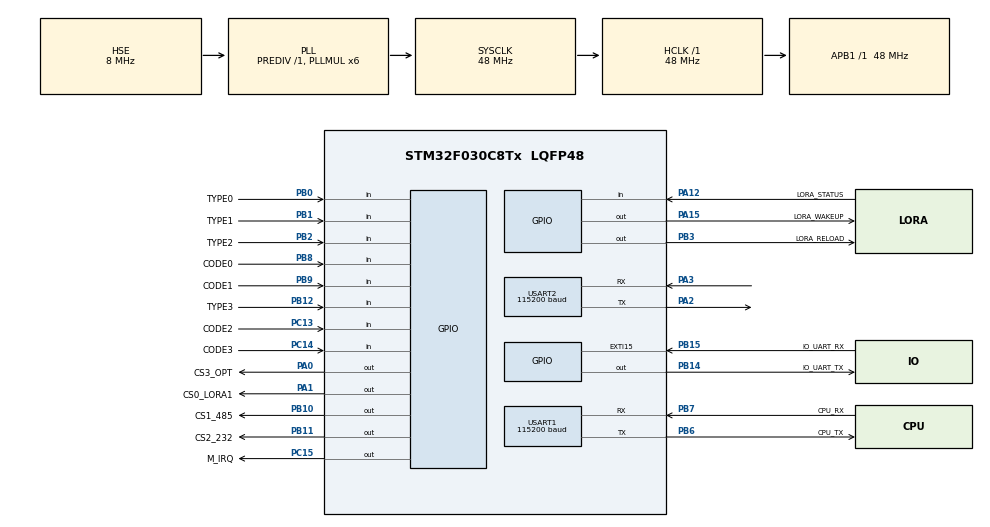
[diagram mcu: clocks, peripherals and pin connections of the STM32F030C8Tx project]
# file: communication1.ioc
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Dma.Request0=USART1_RX
Dma.Request1=USART1_TX
Dma.Request2=USART2_RX
Dma.Request3=USART2_TX
Dma.USART1_RX.0.Direction=DMA_PERIPH_TO_MEMORY
Dma.USART1_RX.0.Instance=DMA1_Channel3
Dma.USART1_RX.0.MemDataAlignment=DMA_MDATAALIGN_BYTE
Dma.USART1_RX.0.MemInc=DMA_MINC_ENABLE
Dma.USART1_RX.0.Mode=DMA_NORMAL
Dma.USART1_RX.0.PeriphDataAlignment=DMA_PDATAALIGN_BYTE
Dma.USART1_RX.0.PeriphInc=DMA_PINC_DISABLE
Dma.USART1_RX.0.Priority=DMA_PRIORITY_LOW
Dma.USART1_TX.1.Direction=DMA_MEMORY_TO_PERIPH
Dma.USART1_TX.1.Instance=DMA1_Channel2
Dma.USART1_TX.1.MemDataAlignment=DMA_MDATAALIGN_BYTE
Dma.USART1_TX.1.MemInc=DMA_MINC_ENABLE
Dma.USART1_TX.1.Mode=DMA_NORMAL
Dma.USART1_TX.1.PeriphDataAlignment=DMA_PDATAALIGN_BYTE
Dma.USART1_TX.1.PeriphInc=DMA_PINC_DISABLE
Dma.USART1_TX.1.Priority=DMA_PRIORITY_LOW
Dma.USART2_RX.2.Direction=DMA_PERIPH_TO_MEMORY
Dma.USART2_RX.2.Instance=DMA1_Channel5
Dma.USART2_RX.2.MemDataAlignment=DMA_MDATAALIGN_BYTE
Dma.USART2_RX.2.MemInc=DMA_MINC_ENABLE
Dma.USART2_RX.2.Mode=DMA_NORMAL
Dma.USART2_RX.2.PeriphDataAlignment=DMA_PDATAALIGN_BYTE
Dma.USART2_RX.2.PeriphInc=DMA_PINC_DISABLE
Dma.USART2_RX.2.Priority=DMA_PRIORITY_LOW
Dma.USART2_TX.3.Direction=DMA_MEMORY_TO_PERIPH
Dma.USART2_TX.3.Instance=DMA1_Channel4
Dma.USART2_TX.3.MemDataAlignment=DMA_MDATAALIGN_BYTE
Dma.USART2_TX.3.MemInc=DMA_MINC_ENABLE
Dma.USART2_TX.3.Mode=DMA_NORMAL
Dma.USART2_TX.3.PeriphDataAlignment=DMA_PDATAALIGN_BYTE
Dma.USART2_TX.3.PeriphInc=DMA_PINC_DISABLE
Dma.USART2_TX.3.Priority=DMA_PRIORITY_LOW
FREERTOS.BinarySemaphores01=Cpu_Recive,Dynamic,NULL;Lora_Recive,Dynamic,NULL
FREERTOS.Mutexes01=shellMutex,Dynamic,NULL
FREERTOS.Tasks01=shell,-2,192,Shell_Task,Default,Shell_Object,Dynamic,NULL,NULL;Cpu,0,256,Cpu_Task,Default,Modbus_Object,Dynamic,NULL,NULL;Lora,0,256,Lora_Task,Default,Lora_Object,Dynamic,NULL,NULL;IWDG,3,64,IWDG_Task,Default,Shell_Object,Dynamic,NULL,NULL
FREERTOS.configCHECK_FOR_STACK_OVERFLOW=2
FREERTOS.configMINIMAL_STACK_SIZE=64
FREERTOS.configTIMER_QUEUE_LENGTH=2
FREERTOS.configTIMER_TASK_STACK_DEPTH=128
FREERTOS.configTOTAL_HEAP_SIZE=5276
FREERTOS.configUSE_CO_ROUTINES=0
FREERTOS.configUSE_MALLOC_FAILED_HOOK=1
FREERTOS.configUSE_TASK_NOTIFICATIONS=0
FREERTOS.configUSE_TIMERS=0
IWDG.Prescaler=IWDG_PRESCALER_64
IWDG.Reload=1250
Mcu.Family=STM32F0
Mcu.Name=STM32F030C8Tx
Mcu.Package=LQFP48
NVIC.DMA1_Channel2_3_IRQn=true\:3\:0\:false\:false\:true\:true\:false\:true\:true
NVIC.DMA1_Channel4_5_IRQn=true\:3\:0\:false\:false\:true\:true\:false\:true\:true
NVIC.EXTI4_15_IRQn=true\:3\:0\:false\:false\:true\:true\:true\:true\:true
NVIC.TIM14_IRQn=true\:3\:0\:false\:false\:true\:true\:true\:true\:true
NVIC.TIM1_BRK_UP_TRG_COM_IRQn=true\:3\:0\:false\:false\:true\:false\:false\:true\:true
NVIC.TIM6_IRQn=true\:3\:0\:false\:false\:true\:true\:true\:true\:true
NVIC.TimeBase=TIM1_BRK_UP_TRG_COM_IRQn
NVIC.TimeBaseIP=TIM1
NVIC.USART1_IRQn=true\:3\:0\:false\:false\:true\:true\:true\:true\:true
NVIC.USART2_IRQn=true\:3\:0\:true\:false\:true\:true\:true\:true\:true
PA0.GPIO_Label=CS3_OPT
PA0.GPIO_PuPd=GPIO_PULLUP
PA0.PinState=GPIO_PIN_SET
PA0.Signal=GPIO_Output
PA1.GPIO_Label=CS0_LORA1
PA1.GPIO_ModeDefaultOutputPP=GPIO_MODE_OUTPUT_PP
PA1.GPIO_PuPd=GPIO_PULLUP
PA1.PinState=GPIO_PIN_SET
PA1.Signal=GPIO_Output
PA12.GPIO_Label=LORA_STATUS
PA12.GPIO_PuPd=GPIO_PULLUP
PA12.Signal=GPIO_Input
PA13.Mode=Serial_Wire
PA13.Signal=SYS_SWDIO
PA14.Mode=Serial_Wire
PA14.Signal=SYS_SWCLK
PA15.GPIO_Label=LORA_WAKEUP
PA15.PinState=GPIO_PIN_SET
PA15.Signal=GPIO_Output
PA2.Mode=Asynchronous
PA2.Signal=USART2_TX
PA3.Mode=Asynchronous
PA3.Signal=USART2_RX
PB0.GPIO_Label=TYPE0
PB0.GPIO_PuPd=GPIO_PULLUP
PB0.Signal=GPIO_Input
PB1.GPIO_Label=TYPE1
PB1.GPIO_PuPd=GPIO_PULLUP
PB1.Signal=GPIO_Input
PB10.GPIO_Label=CS1_485
PB10.GPIO_PuPd=GPIO_PULLUP
PB10.PinState=GPIO_PIN_SET
PB10.Signal=GPIO_Output
PB11.GPIO_Label=CS2_232
PB11.GPIO_PuPd=GPIO_PULLUP
PB11.PinState=GPIO_PIN_SET
PB11.Signal=GPIO_Output
PB12.GPIO_Label=TYPE3
PB12.GPIO_PuPd=GPIO_PULLUP
PB12.Signal=GPIO_Input
PB14.GPIO_Label=IO_UART_TX
PB14.GPIO_PuPd=GPIO_PULLUP
PB14.GPIO_Speed=GPIO_SPEED_FREQ_HIGH
PB14.PinState=GPIO_PIN_SET
PB14.Signal=GPIO_Output
PB15.GPIO_Label=IO_UART_RX
PB15.GPIO_ModeDefaultEXTI=GPIO_MODE_IT_FALLING
PB15.GPIO_PuPd=GPIO_PULLUP
PB15.Signal=GPXTI15
PB2.GPIO_Label=TYPE2
PB2.GPIO_PuPd=GPIO_PULLUP
PB2.Signal=GPIO_Input
PB3.GPIO_Label=LORA_RELOAD
PB3.GPIO_ModeDefaultOutputPP=GPIO_MODE_OUTPUT_PP
PB3.GPIO_PuPd=GPIO_PULLUP
PB3.PinState=GPIO_PIN_SET
PB3.Signal=GPIO_Output
PB6.GPIO_Label=CPU_TX
PB6.Mode=Asynchronous
PB6.Signal=USART1_TX
PB7.GPIO_Label=CPU_RX
PB7.Mode=Asynchronous
PB7.Signal=USART1_RX
PB8.GPIO_Label=CODE0
PB8.GPIO_PuPd=GPIO_PULLUP
PB8.Signal=GPIO_Input
PB9.GPIO_Label=CODE1
PB9.GPIO_PuPd=GPIO_PULLUP
PB9.Signal=GPIO_Input
PC13.GPIO_Label=CODE2
PC13.GPIO_PuPd=GPIO_PULLUP
PC13.Signal=GPIO_Input
PC14-OSC32_IN.GPIO_Label=CODE3
PC14-OSC32_IN.GPIO_PuPd=GPIO_PULLUP
PC14-OSC32_IN.Signal=GPIO_Input
PC15-OSC32_OUT.GPIO_Label=M_IRQ
PC15-OSC32_OUT.GPIO_PuPd=GPIO_PULLUP
PC15-OSC32_OUT.PinState=GPIO_PIN_SET
PC15-OSC32_OUT.Signal=GPIO_Output
PF0-OSC_IN.Mode=HSE-External-Oscillator
PF0-OSC_IN.Signal=RCC_OSC_IN
PF1-OSC_OUT.Mode=HSE-External-Oscillator
PF1-OSC_OUT.Signal=RCC_OSC_OUT
ProjectManager.HeapSize=0x00
ProjectManager.StackSize=0x200
ProjectManager.TargetToolchain=MDK-ARM V5.27
RCC.AHBFreq_Value=48000000
RCC.APB1Freq_Value=48000000
RCC.APB1TimFreq_Value=48000000
RCC.HCLKFreq_Value=48000000
RCC.PLLMUL=RCC_PLL_MUL6
RCC.PLLSourceVirtual=RCC_PLLSOURCE_HSE
RCC.SYSCLKFreq_VALUE=48000000
RCC.SYSCLKSource=RCC_SYSCLKSOURCE_PLLCLK
TIM14.Prescaler=48-1
TIM6.Prescaler=48-1
USART1.BaudRate=115200
USART1.VirtualMode-Asynchronous=VM_ASYNC
USART2.BaudRate=115200
USART2.VirtualMode-Asynchronous=VM_ASYNC
VP_FREERTOS_VS_CMSIS_V1.Mode=CMSIS_V1
VP_IWDG_VS_IWDG.Mode=IWDG_Activate
VP_SYS_VS_tim1.Mode=TIM1
VP_TIM14_VS_ClockSourceINT.Mode=Enable_Timer
VP_TIM6_VS_ClockSourceINT.Mode=Enable_Timer
board=custom

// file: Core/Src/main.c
/* USER CODE BEGIN Header */
/**
 ******************************************************************************
 * @file           : main.c
 * @brief          : Main program body
 ******************************************************************************
 * @attention
 *
 * Copyright (c) 2022 STMicroelectronics.
 * All rights reserved.
 *
 * This software is licensed under terms that can be found in the LICENSE file
 * in the root directory of this software component.
 * If no LICENSE file comes with this software, it is provided AS-IS.
 *
 ******************************************************************************
 */
/* USER CODE END Header */
#include "main.h"
#include "cmsis_os.h"
#include "dma.h"
#include "iwdg.h"
#include "tim.h"
#include "usart.h"
#include "gpio.h"

/* USER CODE BEGIN Includes */
#include "io_uart.h"
/* USER CODE END Includes */

void SystemClock_Config(void);
void MX_FREERTOS_Init(void);

int main(void)
{

  /* MCU Configuration--------------------------------------------------------*/

  /* Reset of all peripherals, Initializes the Flash interface and the Systick. */
  HAL_Init();

  /* Configure the system clock */
  SystemClock_Config();

  /* Initialize all configured peripherals */
  MX_GPIO_Init();
  // MX_USART1_UART_Init();
  MX_DMA_Init();
  MX_USART2_UART_Init();
  MX_TIM6_Init();
  MX_TIM14_Init();
  MX_IWDG_Init();
  /* USER CODE BEGIN 2 */
  MX_USART1_UART_Init();
  MX_Suart_Init();
  /* USER CODE END 2 */

  /* Call init function for freertos objects (in freertos.c) */
  MX_FREERTOS_Init();

  /* Start scheduler */
  osKernelStart();

  /* We should never get here as control is now taken by the scheduler */
  /* Infinite loop */
  while (1)
  {

  }
}

void SystemClock_Config(void)
{
  RCC_OscInitTypeDef RCC_OscInitStruct = {0};
  RCC_ClkInitTypeDef RCC_ClkInitStruct = {0};
  RCC_PeriphCLKInitTypeDef PeriphClkInit = {0};

  /** Initializes the RCC Oscillators according to the specified parameters
   * in the RCC_OscInitTypeDef structure.
   */
  RCC_OscInitStruct.OscillatorType = RCC_OSCILLATORTYPE_LSI | RCC_OSCILLATORTYPE_HSE;
  RCC_OscInitStruct.HSEState = RCC_HSE_ON;
  RCC_OscInitStruct.LSIState = RCC_LSI_ON;
  RCC_OscInitStruct.PLL.PLLState = RCC_PLL_ON;
  RCC_OscInitStruct.PLL.PLLSource = RCC_PLLSOURCE_HSE;
  RCC_OscInitStruct.PLL.PLLMUL = RCC_PLL_MUL6;
  RCC_OscInitStruct.PLL.PREDIV = RCC_PREDIV_DIV1;
  if (HAL_RCC_OscConfig(&RCC_OscInitStruct) != HAL_OK)
  {
    Error_Handler();
  }

  /** Initializes the CPU, AHB and APB buses clocks
   */
  RCC_ClkInitStruct.ClockType = RCC_CLOCKTYPE_HCLK | RCC_CLOCKTYPE_SYSCLK | RCC_CLOCKTYPE_PCLK1;
  RCC_ClkInitStruct.SYSCLKSource = RCC_SYSCLKSOURCE_PLLCLK;
  RCC_ClkInitStruct.AHBCLKDivider = RCC_SYSCLK_DIV1;
  RCC_ClkInitStruct.APB1CLKDivider = RCC_HCLK_DIV1;

  if (HAL_RCC_ClockConfig(&RCC_ClkInitStruct, FLASH_LATENCY_1) != HAL_OK)
  {
    Error_Handler();
  }
  PeriphClkInit.PeriphClockSelection = RCC_PERIPHCLK_USART1;
  PeriphClkInit.Usart1ClockSelection = RCC_USART1CLKSOURCE_PCLK1;
  if (HAL_RCCEx_PeriphCLKConfig(&PeriphClkInit) != HAL_OK)
  {
    Error_Handler();
  }
}

void HAL_TIM_PeriodElapsedCallback(TIM_HandleTypeDef *htim)
{
  /* USER CODE BEGIN Callback 0 */
  IoUart_HandleTypeDef *huart = &S_Uart1;
  static uint8_t Samp_Bits = 0;
  /* USER CODE END Callback 0 */
  if (htim->Instance == TIM1)
  {
    HAL_IncTick();
  }
  /* USER CODE BEGIN Callback 1 */
  else if (htim->Instance == TIM6)
  { /*Data transmission, transmission priority, no transmission before entering the receiving state*/
    if (huart->Tx.En)
    { /*Serial port sending bit status judgment*/
      switch (huart->Tx.Status)
      {
      case COM_START_BIT:
      {
        HAL_GPIO_WritePin(IO_UART_TX_GPIO_Port, IO_UART_TX_Pin, GPIO_PIN_RESET);
        huart->Tx.Status = COM_DATA_BIT;
        huart->Tx.Bits = 0U;
      }
      break;
      case COM_DATA_BIT:
      {
        HAL_GPIO_WritePin(IO_UART_TX_GPIO_Port, IO_UART_TX_Pin, (GPIO_PinState)((*(huart->Tx.pBuf) >> huart->Tx.Bits) & 0x01));

        if (++huart->Tx.Bits >= 8U)
        {
          huart->Tx.Status = huart->Check_Type ? COM_CHECK_BIT : COM_STOP_BIT;
        }
      }
      break;
      case COM_CHECK_BIT:
      {
      }
      break;
      case COM_STOP_BIT:
      {
        HAL_GPIO_WritePin(IO_UART_TX_GPIO_Port, IO_UART_TX_Pin, GPIO_PIN_SET);
        huart->Tx.Bits = 0U;
        if (--huart->Tx.Len)
        {
          huart->Tx.Status = COM_START_BIT;
          huart->Tx.pBuf++;
        }
        else
        {
          huart->Tx.Status = COM_NONE_BIT;
          huart->Tx.En = false;
          huart->Rx.En = true;
          HAL_TIM_Base_Stop_IT(huart->Tx.Timer_Handle);
          __HAL_TIM_SET_COUNTER(huart->Tx.Timer_Handle, 0U);
          HAL_NVIC_EnableIRQ(huart->Rx.IRQn);
          huart->Tx.Finsh_Flag = true;
        }
      }
      break;
      default:
        break;
      }
    }
  }
  else if (htim->Instance == TIM14)
  {
    if (huart->Rx.En)
    {
      switch (huart->Rx.Status)
      {
      case COM_START_BIT:
      {
        Samp_Bits = (Samp_Bits << 1U) | (HAL_GPIO_ReadPin(IO_UART_RX_GPIO_Port, IO_UART_RX_Pin) & 0x01);

        if (++huart->Rx.Filters >= MAX_SAMPING)
        {
          if (!Get_ValidBits(Samp_Bits))
          {
            huart->Rx.Status = COM_DATA_BIT;
            __HAL_TIM_SET_AUTORELOAD(huart->Rx.Timer_Handle, huart->Rx.Sam_Times[huart->Rx.Filters]);
          }
          else
          {
            huart->Rx.Status = COM_STOP_BIT;
          }
          Samp_Bits = 0U;
          huart->Rx.Filters = 0U;
        }
        else
        {
          __HAL_TIM_SET_AUTORELOAD(huart->Rx.Timer_Handle, huart->Rx.Sam_Times[huart->Rx.Filters]);
        }
      }
      break;
      case COM_DATA_BIT: /*Data bit*/
      {
        Samp_Bits = (Samp_Bits << 1U) | (HAL_GPIO_ReadPin(IO_UART_RX_GPIO_Port, IO_UART_RX_Pin) & 0x01);

        if (++huart->Rx.Filters >= MAX_SAMPING)
        {
          huart->Rx.Data |= (Get_ValidBits(Samp_Bits) & 0x01) << huart->Rx.Bits;
          if (huart->Rx.Bits >= 7U)
          {
            huart->Rx.Bits = 0;
            huart->Rx.Status = huart->Check_Type ? COM_CHECK_BIT : COM_STOP_BIT;
          }
          else
          {
            huart->Rx.Bits++;
          }
          __HAL_TIM_SET_AUTORELOAD(huart->Rx.Timer_Handle, huart->Rx.Sam_Times[huart->Rx.Filters]);
          huart->Rx.Filters = 0U;
          Samp_Bits = 0U;
        }
        else
        {
          __HAL_TIM_SET_AUTORELOAD(huart->Rx.Timer_Handle, huart->Rx.Sam_Times[huart->Rx.Filters]);
        }
      }
      break;
      case COM_CHECK_BIT: /*Check bit*/
      {
        huart->Rx.Status = COM_NONE_BIT;
      }
      break;
      case COM_STOP_BIT: /*stop bit*/
      {
        Samp_Bits = (Samp_Bits << 1U) | (HAL_GPIO_ReadPin(IO_UART_RX_GPIO_Port, IO_UART_RX_Pin) & 0x01);

        if (++huart->Rx.Filters >= MAX_SAMPING)
        { /*Stop bit received correctly*/
          if (Get_ValidBits(Samp_Bits))
          {
            huart->Rx.Len++;
            huart->Rx.Status = COM_NONE_BIT;
            // huart->Rx.En = true;
            // huart->Tx.En = false; ///
            HAL_TIM_Base_Stop_IT(huart->Rx.Timer_Handle);
            __HAL_TIM_SET_COUNTER(huart->Rx.Timer_Handle, 0U);
            // HAL_NVIC_EnableIRQ(huart->Rx.IRQn);
            /*Two interrupts are generated when one data is received?*/
            // huart->Rx.Finsh_Flag ^= true;
            huart->Rx.Finsh_Flag = true;
          }
          huart->Rx.Filters = 0U;
          Samp_Bits = 0U;
        }
        else
        {
          __HAL_TIM_SET_AUTORELOAD(huart->Rx.Timer_Handle, huart->Rx.Sam_Times[huart->Rx.Filters]);
        }
      }
      break;
      default:
        break;
      }
    }
  }
  /* USER CODE END Callback 1 */
}

void Error_Handler(void)
{
  __disable_irq();
  while (1)
  {
  }
}

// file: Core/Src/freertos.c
/* USER CODE BEGIN Header */
/**
 ******************************************************************************
 * File Name          : freertos.c
 * Description        : Code for freertos applications
 ******************************************************************************
 * @attention
 *
 * Copyright (c) 2022 STMicroelectronics.
 * All rights reserved.
 *
 * This software is licensed under terms that can be found in the LICENSE file
 * in the root directory of this software component.
 * If no LICENSE file comes with this software, it is provided AS-IS.
 *
 ******************************************************************************
 */
/* USER CODE END Header */

#include "FreeRTOS.h"
#include "task.h"
#include "main.h"
#include "cmsis_os.h"

/* USER CODE BEGIN Includes */
#include "tool.h"
#include "Modbus.h"
#include "lora.h"
#include "shell_port.h"
/*https://www.cnblogs.com/ydmblog/p/15308372.html*/
#include <cm_backtrace.h>
/* USER CODE END Includes */

/* USER CODE BEGIN PTD */
#define HARDWARE_VERSION "V1.0.0"
#define SOFTWARE_VERSION "V0.1.0"
/* USER CODE END PTD */

osThreadId shellHandle;
osThreadId CpuHandle;
osThreadId LoraHandle;
osThreadId IWDGHandle;
osMutexId shellMutexHandle;
osSemaphoreId Cpu_ReciveHandle;
osSemaphoreId Lora_ReciveHandle;

void Shell_Task(void const *argument);
void Cpu_Task(void const *argument);
void Lora_Task(void const *argument);
void IWDG_Task(void const *argument);

void MX_FREERTOS_Init(void); /* (MISRA C 2004 rule 8.1) */

/* GetIdleTaskMemory prototype (linked to static allocation support) */
void vApplicationGetIdleTaskMemory(StaticTask_t **ppxIdleTaskTCBBuffer, StackType_t **ppxIdleTaskStackBuffer, uint32_t *pulIdleTaskStackSize);

/* Hook prototypes */
void vApplicationStackOverflowHook(xTaskHandle xTask, signed char *pcTaskName);
void vApplicationMallocFailedHook(void);

/* USER CODE BEGIN 4 */
__weak void vApplicationStackOverflowHook(xTaskHandle xTask, signed char *pcTaskName)
{
  /* Run time stack overflow checking is performed if
  configCHECK_FOR_STACK_OVERFLOW is defined to 1 or 2. This hook function is
  called if a stack overflow is detected. */
  shellPrint(Shell_Object, "@Error:%s is stack overflow!\r\n", pcTaskName);
}
/* USER CODE END 4 */

/* USER CODE BEGIN 5 */
__weak void vApplicationMallocFailedHook(void)
{
  /* vApplicationMallocFailedHook() will only be called if
  configUSE_MALLOC_FAILED_HOOK is set to 1 in FreeRTOSConfig.h. It is a hook
  function that will get called if a call to pvPortMalloc() fails.
  pvPortMalloc() is called internally by the kernel whenever a task, queue,
  timer or semaphore is created. It is also called by various parts of the
  demo application. If heap_1.c or heap_2.c are used, then the size of the
  heap available to pvPortMalloc() is defined by configTOTAL_HEAP_SIZE in
  FreeRTOSConfig.h, and the xPortGetFreeHeapSize() API function can be used
  to query the size of free heap space that remains (although it does not
  provide information on how the remaining heap might be fragmented). */
  shellPrint(Shell_Object, "@Error:memory allocation failed!\r\n");
  shellPrint(Shell_Object, "\r\n\r\nOS remaining heap = %dByte, Mini heap = %dByte\r\n",
             xPortGetFreeHeapSize(), xPortGetMinimumEverFreeHeapSize());
  /*Solve the problem of scheduling stuck after running out of memory: reset MCU with Watchdog*/
  for (;;)
    ;
}

static void TIRQ_Handle(void)
{
  /*Interrupt signal generation*/
  static IRQ_Type irq = DisEnable;
  pModbusHandle pd = Modbus_Object;
  GPIO_PinState PinState = GPIO_PIN_RESET;

  if (pd->Slave.pHandle)
  { /*The board model is read or the corresponding interrupt processing request is responded*/
    irq = *(bool *)pd->Slave.pHandle ? DisEnable : (IRQ_Type)(irq ^ DisEnable);
    PinState = (irq == DisEnable) ? GPIO_PIN_SET : GPIO_PIN_RESET;
    HAL_GPIO_WritePin(M_IRQ_GPIO_Port, M_IRQ_Pin, PinState);
    // IRQ_Handle(irq);
  }
}
/* USER CODE END 5 */

/* USER CODE BEGIN GET_IDLE_TASK_MEMORY */
static StaticTask_t xIdleTaskTCBBuffer;
static StackType_t xIdleStack[configMINIMAL_STACK_SIZE];

void vApplicationGetIdleTaskMemory(StaticTask_t **ppxIdleTaskTCBBuffer, StackType_t **ppxIdleTaskStackBuffer, uint32_t *pulIdleTaskStackSize)
{
  *ppxIdleTaskTCBBuffer = &xIdleTaskTCBBuffer;
  *ppxIdleTaskStackBuffer = &xIdleStack[0];
  *pulIdleTaskStackSize = configMINIMAL_STACK_SIZE;
  /* place for user code */
}
/* USER CODE END GET_IDLE_TASK_MEMORY */

void MX_FREERTOS_Init(void)
{
  /* Create the mutex(es) */
  /* definition and creation of shellMutex */
  osMutexDef(shellMutex);
  shellMutexHandle = osMutexCreate(osMutex(shellMutex));

  /* Create the semaphores(s) */
  /* definition and creation of Cpu_Recive */
  osSemaphoreDef(Cpu_Recive);
  Cpu_ReciveHandle = osSemaphoreCreate(osSemaphore(Cpu_Recive), 1);

  /* definition and creation of Lora_Recive */
  osSemaphoreDef(Lora_Recive);
  Lora_ReciveHandle = osSemaphoreCreate(osSemaphore(Lora_Recive), 1);

  /* USER CODE BEGIN RTOS_QUEUES */
  /* add queues, ... */
  MX_ShellInit(Shell_Object);
  MX_ModbusInit();
  if (Modbus_Object)
  {
    __HAL_UART_ENABLE_IT(Modbus_Object->huart, UART_IT_IDLE);
    /*DMA buffer must point to an entity address!!!*/
    HAL_UART_Receive_DMA(Modbus_Object->huart, Modbus_Object->Slave.pRbuf, Modbus_Object->Slave.RxSize);
    Modbus_Object->Slave.RxCount = 0U;
  }
  MX_Lora_Init();
  if (Lora_Object)
  {
    __HAL_UART_ENABLE_IT(Lora_Object->huart, UART_IT_IDLE);
    /*DMA buffer must point to an entity address!!!*/
    HAL_UART_Receive_DMA(Lora_Object->huart, Lora_Object->Slave.pRbuf, Lora_Object->Slave.RxSize);
    Lora_Object->Slave.RxCount = 0U;
  }
#if defined(USING_CMBACKTRACE)
  SCB->CCR |= (1 << 3); /* bit3: UNALIGN_TRP. */
  SCB->CCR |= (1 << 4); /* bit4: DIV_0_TRP. */
  /* CmBacktrace initialize */
  cm_backtrace_init("communication1", HARDWARE_VERSION, SOFTWARE_VERSION);
#endif
  /* USER CODE END RTOS_QUEUES */

  /* Create the thread(s) */
  /* definition and creation of shell */
  osThreadDef(shell, Shell_Task, osPriorityLow, 0, 192);
  shellHandle = osThreadCreate(osThread(shell), (void *)Shell_Object);

  /* definition and creation of Cpu */
  osThreadDef(Cpu, Cpu_Task, osPriorityNormal, 0, 256);
  CpuHandle = osThreadCreate(osThread(Cpu), (void *)Modbus_Object);

  /* definition and creation of Lora */
  osThreadDef(Lora, Lora_Task, osPriorityNormal, 0, 256);
  LoraHandle = osThreadCreate(osThread(Lora), (void *)Lora_Object);

  /* definition and creation of IWDG */
  osThreadDef(IWDG, IWDG_Task, osPriorityRealtime, 0, 64);
  IWDGHandle = osThreadCreate(osThread(IWDG), (void *)Shell_Object);

}

void Shell_Task(void const *argument)
{
  /* USER CODE BEGIN Shell_Task */
  // Shell *shell = (Shell *)argument;
  // char data = '\0';
  /* Infinite loop */
  for (;;)
  {
    shellTask((void *)argument);
  }
  /* USER CODE END Shell_Task */
}

void Cpu_Task(void const *argument)
{
  /* USER CODE BEGIN Cpu_Task */
  pModbusHandle mdHandle = (pModbusHandle)argument;
  /* Infinite loop */
  for (;;)
  {
    /*https://www.cnblogs.com/w-smile/p/11333950.html*/
    if ((osOK == osSemaphoreWait(mdHandle->Slave.bSemaphore, osWaitForever)) && mdHandle)
    {
      mdHandle->Mod_Poll(mdHandle);
#if defined(USING_DEBUG)
      shellPrint(Shell_Object, "Slave received a packet of data.\r\n");
#endif
    }
  }
  /* USER CODE END Cpu_Task */
}

void Lora_Task(void const *argument)
{
  /* USER CODE BEGIN Lora_Task */
  pLoraHandle pHandle = (pLoraHandle)argument;
  extern bool g_At_mutex;
  /* Infinite loop */
  for (;;)
  {
    /*https://www.cnblogs.com/w-smile/p/11333950.html*/
    if ((osOK == osSemaphoreWait(pHandle->Slave.bSemaphore, LORA_SCHEDULE_TIMES)))
    {
      if (!g_At_mutex)
        pHandle->Lora_Recive_Poll(pHandle);
#if defined(USING_DEBUG)
      shellPrint(Shell_Object, "Lora received a packet of data.\r\n");
#endif
    }
    else
    {
      if (!g_At_mutex)
        pHandle->Lora_Transmit_Poll(pHandle);
    }
// osDelay(1000);
#if defined(USING_DEBUG)
#if ((configUSE_TRACE_FACILITY == 1) && (configUSE_STATS_FORMATTING_FUNCTIONS > 0) && (configSUPPORT_DYNAMIC_ALLOCATION == 1))
    TaskStatus_t *pTable = CUSTOM_MALLOC(uxTaskGetNumberOfTasks() * sizeof(TaskStatus_t));
    if (pTable)
    {
      vTaskList((char *)pTable);
      shellPrint(Shell_Object, "TaskName\tTaskState Priority   RemainingStack TaskID\r\n");
      shellPrint(Shell_Object, "%s\r\n", pTable);
    }
    CUSTOM_FREE(pTable);
    shellPrint(Shell_Object, "\r\nremaining heap = %d.\r\n", xPortGetFreeHeapSize());
#endif
#endif
    // shellPrint(Shell_Object, "\r\n\r\nOS remaining heap = %dByte, Mini heap = %dByte\r\n",
    //            xPortGetFreeHeapSize(), xPortGetMinimumEverFreeHeapSize());
  }
  /* USER CODE END Lora_Task */
}

void IWDG_Task(void const *argument)
{
  /* USER CODE BEGIN IWDG_Task */
  /* Infinite loop */
  for (;;)
  {
    extern IWDG_HandleTypeDef hiwdg;
    HAL_IWDG_Refresh(&hiwdg);
    /*External interruption*/
    TIRQ_Handle();
    osDelay(120);
  }
  /* USER CODE END IWDG_Task */
}
